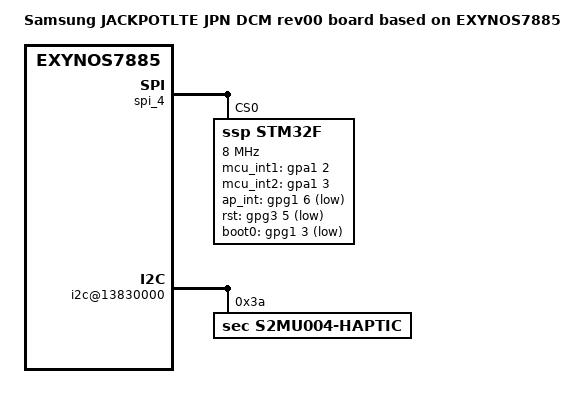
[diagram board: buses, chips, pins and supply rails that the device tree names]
/*
 * SAMSUNG UNIVERSAL7885 board device tree source
 *
 * Copyright (c) 2013 Samsung Electronics Co., Ltd.
 *		http://www.samsung.com
 *
 * This program is free software; you can redistribute it and/or modify
 * it under the terms of the GNU General Public License version 2 as
 * published by the Free Software Foundation.
*/

/dts-v1/;
#include "exynos7885-jackpotlte_jpn_common.dtsi"
#include "exynos7885-jackpotlte_fingerprint-sensor_00.dtsi"
#include "exynos7885-jackpotlte_jpn_dcm_gpio_00.dtsi"
#include "exynos7885-jackpotlte_svcled.dtsi"
#include "exynos7885-jackpotlte_jpn-isdbt-00.dtsi"


/ {
	model = "Samsung JACKPOTLTE JPN DCM rev00 board based on EXYNOS7885";
	model_info-chip = <7885>;
	model_info-platform = "android";
	model_info-subtype = "samsung";
	model_info-hw_rev = <0>;
	model_info-hw_rev_end = <2>;
	compatible = "samsung, JACKPOTLTE JPN DCM rev00", "samsung,Universal7885";

	/* SENSORHUB */
	spi_4: spi@13980000 {
		#address-cells = <1>;
		#size-cells = <0>;

	        pinctrl-names = "default";
	        pinctrl-0 = <&spi4_miso &spi4_mosi &spi4_cs &spi4_clk>;
	        interrupts = <0 277 0>;

	        num-cs = <1>;
        	status = "okay";

		STM32F@0 {
			compatible = "ssp,STM32F";
			reg = <0>;
			spi-max-frequency = <8000000>;
			spi-cpol;
			spi-cpha;
			pinctrl-names = "default";
			pinctrl-0 = <&ssp_rst &ssp_ap_int &ssp_mcu_int1 &ssp_mcu_int2 &ssp_boot0>;

			gpio-controller;
			#gpio-cells = <2>;
			ssp,mcu_int1-gpio = <&gpa1 2 0x00>;
			ssp,mcu_int2-gpio = <&gpa1 3 0x00>;
			ssp,ap_int-gpio = <&gpg1 6 0x01>;
			ssp,rst-gpio = <&gpg3 5 0x01>;
			ssp,boot0-gpio = <&gpg1 3 0x1>;
			ssp,acc-position = <7>;
			ssp,mag-position = <5>;
			ssp-sns-combination = <0>;
			ssp,prox-hi_thresh = <55>;
			ssp,prox-low_thresh = <40>;
			ssp,prox-detect_hi_thresh = <250>;
			ssp,prox-detect_low_thresh = <130>;
			ssp-ap-rev = <1>;
			ssp-mag-array = /bits/ 8 <0 0 0 0 0 0 0 0 0
                                    0 0 0 0 0 0 0 0 0
                                    0 0 0 0 0 0 0 0 0>;
			ssp-mag-type = <1>;
			ssp-glass-type = <0>;
			ssp-acc-type = <1>;
			ssp-pressure-type = <1>;
			ssp-project-type = <1>;


            controller-data {
                cs-gpio = <&gpp8 0 0>;
                samsung,spi-feedback-delay = <0>;
			};
	        };
	};
	
	/* USIM DETECTION FOR CP */
	usim_det {
		pinctrl-names = "default";
		pinctrl-0 = <&sim0_det_gpio>;
		mif,num_of_usim_det = <1>;
		mif,usim-det0-gpio = <&gpa2 6 0>;
	};

	/* motor control type :  1 = IFPMIC */
	/*				2 = Mot driving IC */
	motor {
		motor,motor_type = <1>;
	};

	pinctrl@139B0000 {
		motor_pwm: motor_pwm {
			samsung,pins = "gpg0-1";
			samsung,pin-function = <2>;
			samsung,pin-pud = <1>;
			samsung,pin-drv = <0>;
		};
	};

	i2c@13830000 {
		s2mu004-haptic@3A {
			compatible = "sec,s2mu004-haptic";
			reg = <0x3A>;
			pinctrl-names = "default";
			pinctrl-0 = <&motor_pwm>;
			
		};
	};

	/delete-node/ fm@14840000;
};

